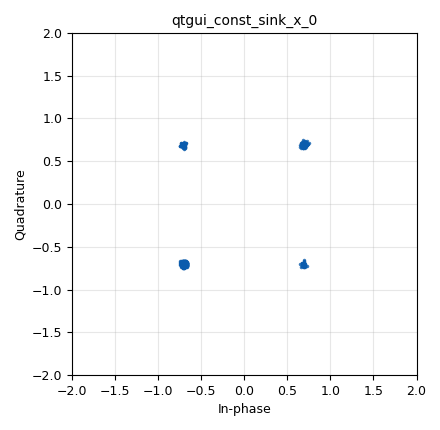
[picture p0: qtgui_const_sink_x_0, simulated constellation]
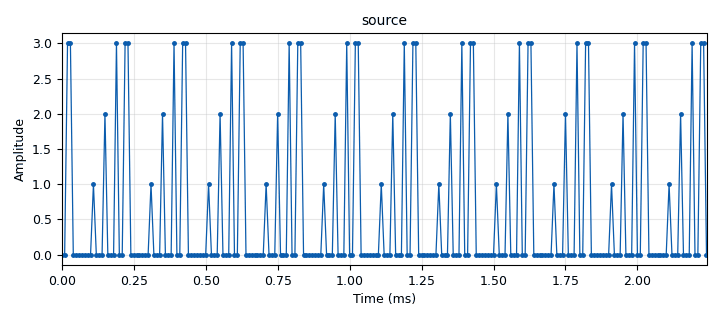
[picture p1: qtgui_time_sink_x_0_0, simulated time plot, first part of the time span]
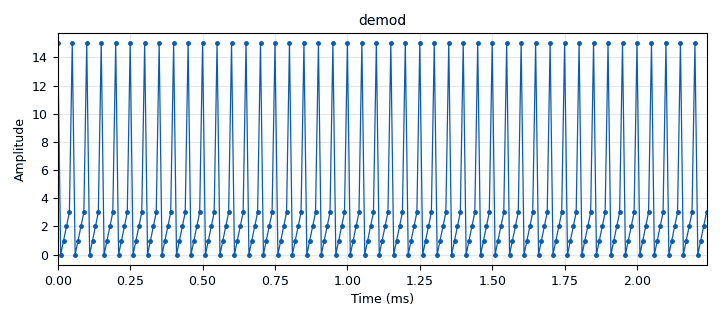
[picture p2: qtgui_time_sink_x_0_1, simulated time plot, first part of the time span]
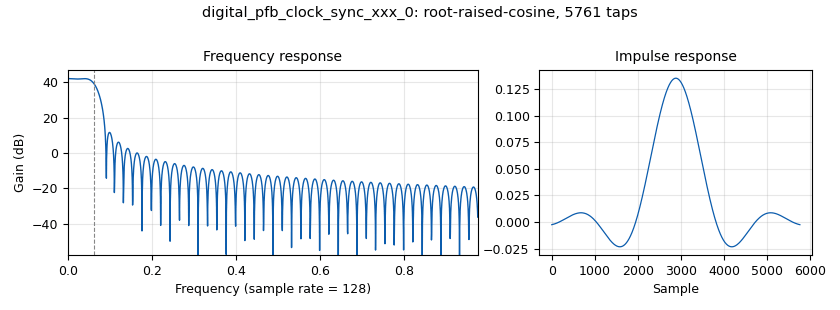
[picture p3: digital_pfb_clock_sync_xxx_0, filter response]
options:
  parameters:
    author: wcc
    generate_options: qt_gui
    id: lab1_qpsk_mod_demod
    output_language: python
    title: lab1_qpsk_mod_demod
  states: {}

blocks:
- name: QPSK
  id: variable_constellation
  parameters:
    const_points: digital.psk_4()[0]
    dims: '1'
    precision: '8'
    rot_sym: '4'
    sym_map: digital.psk_4()[1]
    type: calcdist
  states: {}
- name: freq_offset
  id: variable_qtgui_range
  parameters:
    label: freq_offset
    orient: Qt.Horizontal
    start: '-1000'
    step: '1'
    stop: '1000'
    value: '0'
  states: {}
- name: nfilts
  id: variable
  parameters:
    value: '128'
  states: {}
- name: noise_voltage
  id: variable_qtgui_range
  parameters:
    orient: Qt.Horizontal
    start: '0.0'
    step: '.001'
    stop: '1'
    value: '.063'
  states: {}
- name: rrc_taps
  id: variable
  parameters:
    value: firdes.root_raised_cosine(nfilts, nfilts, 1.0/float(sps), 0.35, 45*nfilts)
  states: {}
- name: samp_rate
  id: variable
  parameters:
    value: '100000'
  states: {}
- name: sps
  id: variable
  parameters:
    value: '8'
  states: {}
- name: timing_loop_bandwidth
  id: variable_qtgui_range
  parameters:
    orient: Qt.Horizontal
    start: '.001'
    step: '.001'
    stop: '.2'
    value: '.063'
  states: {}
- name: blocks_char_to_float_0_0
  id: blocks_char_to_float
  parameters:
    scale: '1'
  states: {}
- name: blocks_char_to_float_0_1
  id: blocks_char_to_float
  parameters:
    scale: '1'
  states: {}
- name: blocks_repack_bits_bb_0
  id: blocks_repack_bits_bb
  parameters:
    endianness: gr.GR_MSB_FIRST
    k: '8'
    l: '2'
  states: {}
- name: blocks_repack_bits_bb_1
  id: blocks_repack_bits_bb
  parameters:
    align_output: 'True'
    endianness: gr.GR_MSB_FIRST
    k: '2'
    l: '8'
  states: {}
- name: blocks_throttle_0
  id: blocks_throttle
  parameters:
    samples_per_second: samp_rate
    type: byte
  states: {}
- name: blocks_unpacked_to_packed_xx_0
  id: blocks_unpacked_to_packed_xx
  parameters:
    bits_per_chunk: '2'
    endianness: gr.GR_MSB_FIRST
    type: byte
  states: {}
- name: blocks_vector_source_x_0_0_0
  id: blocks_vector_source_x
  parameters:
    repeat: 'True'
    type: byte
    vector: '[0,1,2,3,0xf]'
  states: {}
- name: channels_channel_model_0_0
  id: channels_channel_model
  parameters:
    epsilon: '1.0'
    freq_offset: freq_offset/samp_rate
    noise_voltage: noise_voltage
    seed: '0'
    taps: '1.0 '
  states: {}
- name: digital_constellation_decoder_cb_0
  id: digital_constellation_decoder_cb
  parameters:
    constellation: QPSK
  states: {}
- name: digital_constellation_modulator_0
  id: digital_constellation_modulator
  parameters:
    constellation: QPSK
    differential: 'False'
    excess_bw: '0.35'
    samples_per_symbol: sps
  states: {}
- name: digital_map_bb_0
  id: digital_map_bb
  parameters:
    map: '[0,1,2,3]'
  states: {}
- name: digital_pfb_clock_sync_xxx_0
  id: digital_pfb_clock_sync_xxx
  parameters:
    filter_size: nfilts
    init_phase: nfilts/2
    loop_bw: timing_loop_bandwidth
    max_dev: '1.5'
    osps: '1'
    sps: sps
    taps: rrc_taps
    type: ccf
  states: {}
- name: qtgui_const_sink_x_0
  id: qtgui_const_sink_x
  parameters:
    size: '1024'
    type: complex
  states: {}
- name: qtgui_time_sink_x_0_0
  id: qtgui_time_sink_x
  parameters:
    autoscale: 'True'
    marker1: '0'
    name: 'source '
    size: '1024'
    srate: samp_rate
    type: float
  states: {}
- name: qtgui_time_sink_x_0_1
  id: qtgui_time_sink_x
  parameters:
    autoscale: 'True'
    marker1: '0'
    name: demod
    size: '1024'
    srate: samp_rate
    type: float
  states: {}

connections:
- [blocks_char_to_float_0_0, '0', qtgui_time_sink_x_0_0, '0']
- [blocks_char_to_float_0_1, '0', qtgui_time_sink_x_0_1, '0']
- [blocks_repack_bits_bb_0, '0', blocks_char_to_float_0_0, '0']
- [blocks_repack_bits_bb_0, '0', blocks_unpacked_to_packed_xx_0, '0']
- [blocks_repack_bits_bb_1, '0', blocks_char_to_float_0_1, '0']
- [blocks_throttle_0, '0', digital_constellation_modulator_0, '0']
- [blocks_unpacked_to_packed_xx_0, '0', blocks_throttle_0, '0']
- [blocks_vector_source_x_0_0_0, '0', blocks_repack_bits_bb_0, '0']
- [channels_channel_model_0_0, '0', digital_pfb_clock_sync_xxx_0, '0']
- [digital_constellation_decoder_cb_0, '0', digital_map_bb_0, '0']
- [digital_constellation_modulator_0, '0', channels_channel_model_0_0, '0']
- [digital_map_bb_0, '0', blocks_repack_bits_bb_1, '0']
- [digital_pfb_clock_sync_xxx_0, '0', digital_constellation_decoder_cb_0, '0']
- [digital_pfb_clock_sync_xxx_0, '0', qtgui_const_sink_x_0, '0']

metadata:
  file_format: 1
